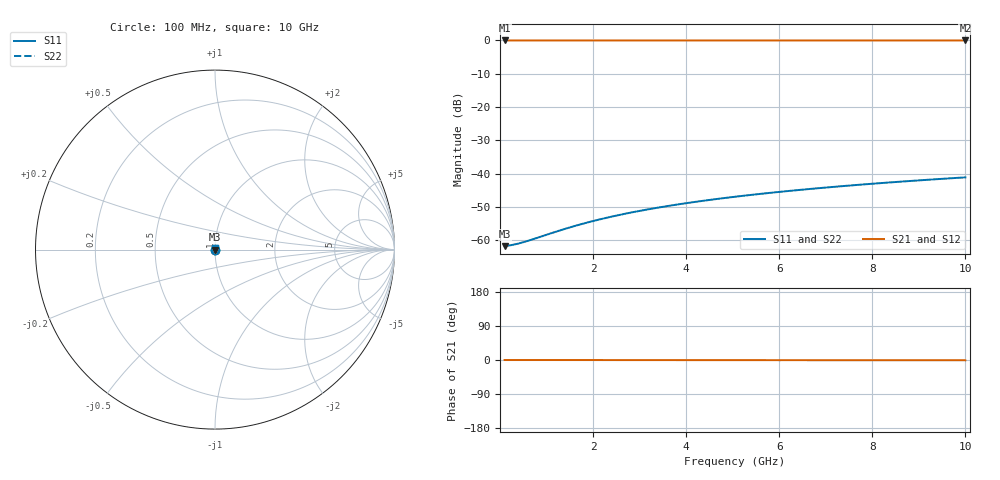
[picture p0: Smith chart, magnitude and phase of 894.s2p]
# Hz S RI R 50.00
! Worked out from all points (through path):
!   100 points, 100 MHz to 10 GHz, reference 50 ohm
!   highest |S21| = -0.01 dB at 100 MHz (marker M1); lowest = 0.0 dB at 10 GHz (marker M2)
!   lowest |S11| = -61.7 dB at 100 MHz (marker M3), VSWR 1.00, Z = 50.1 + j0.00878 ohm
!   |S11| at or under -10 dB: start of sweep to end of sweep
!   |S22| runs from -61.7 to -41.1 dB; largest |S21 - S12| = 0
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1e8  0.000815 8.76e-05  0.9992 -0.000123  0.9992 -0.000123  0.000815 8.76e-05
2e8  0.00082 0.000175  0.9992 -0.000245  0.9992 -0.000245  0.00082 0.000175
3e8  0.000824 0.000263  0.9992 -0.000368  0.9992 -0.000368  0.000824 0.000263
5e8  0.00083 0.000438  0.9992 -0.000614  0.9992 -0.000614  0.00083 0.000438
7e8  0.000835 0.000613  0.9992 -0.000859  0.9992 -0.000859  0.000835 0.000613
1.3e9  0.000846 0.00114  0.9992 -0.0016  0.9992 -0.0016  0.000846 0.00114
1.6e9  0.000851 0.0014  0.9991 -0.00196  0.9991 -0.00196  0.000851 0.0014
1.8e9  0.000854 0.00158  0.9991 -0.00221  0.9991 -0.00221  0.000854 0.00158
2.2e9  0.000859 0.00193  0.9991 -0.0027  0.9991 -0.0027  0.000859 0.00193
2.6e9  0.000865 0.00228  0.9991 -0.00319  0.9991 -0.00319  0.000865 0.00228
3e9  0.000871 0.00263  0.9991 -0.00368  0.9991 -0.00368  0.000871 0.00263
3.4e9  0.000876 0.00298  0.9991 -0.00417  0.9991 -0.00417  0.000876 0.00298
3.8e9  0.000882 0.00333  0.9991 -0.00466  0.9991 -0.00466  0.000882 0.00333
4.2e9  0.000888 0.00368  0.9991 -0.00516  0.9991 -0.00516  0.000888 0.00368
4.6e9  0.000895 0.00403  0.9991 -0.00565  0.9991 -0.00565  0.000895 0.00403
5.1e9  0.000903 0.00447  0.9991 -0.00626  0.9991 -0.00626  0.000903 0.00447
5.9e9  0.000917 0.00517  0.9991 -0.00724  0.9991 -0.00724  0.000917 0.00517
6.7e9  0.000932 0.00587  0.9991 -0.00823  0.9991 -0.00823  0.000932 0.00587
7.5e9  0.000949 0.00657  0.999 -0.00921  0.999 -0.00921  0.000949 0.00657
8.4e9  0.000969 0.00736  0.999 -0.0103  0.999 -0.0103  0.000969 0.00736
9.2e9  0.000989 0.00807  0.999 -0.0113  0.999 -0.0113  0.000989 0.00807
1e10  0.00101 0.00877  0.999 -0.0123  0.999 -0.0123  0.00101 0.00877
